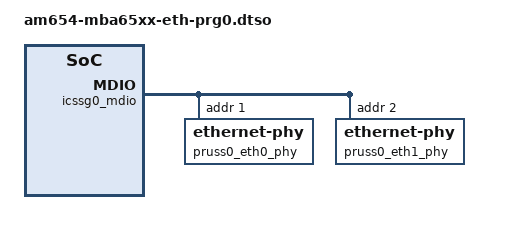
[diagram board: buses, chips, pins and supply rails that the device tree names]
// SPDX-License-Identifier: GPL-2.0
/*
 * Copyright (C) 2020 TQ Systems
 */

/dts-v1/;
/plugin/;
#include <dt-bindings/gpio/gpio.h>
#include <dt-bindings/net/ti-dp83867.h>
#include <dt-bindings/phy/phy.h>
#include <dt-bindings/pinctrl/k3.h>


/ {
   fragment@101 {
	target-path = "/";

	__overlay__ {

		aliases {
			ethernet1 = "/pruss0_eth/ethernet-mii0";
			ethernet2 = "/pruss0_eth/ethernet-mii1";
		};
		
		/* Dual Ethernet application node on PRU-ICSSG0 */
		pruss0_eth: pruss0_eth {
			compatible = "ti,am654-icssg-prueth";
			pinctrl-names = "default";
			pinctrl-0 = <&icssg0_rgmii_pins_default>;
			sram = <&msmc_ram>;
			prus = <&pru0_0>, <&rtu0_0>, <&tx_pru0_0>, <&pru0_1>, <&rtu0_1>, <&tx_pru0_1>;
			firmware-name = "ti-pruss/am65x-sr2-pru0-prueth-fw.elf",
					"ti-pruss/am65x-sr2-rtu0-prueth-fw.elf",
					"ti-pruss/am65x-sr2-txpru0-prueth-fw.elf",
					"ti-pruss/am65x-sr2-pru1-prueth-fw.elf",
					"ti-pruss/am65x-sr2-rtu1-prueth-fw.elf",
					"ti-pruss/am65x-sr2-txpru1-prueth-fw.elf";

			ti,pruss-gp-mux-sel = <2>,	/* MII mode */
					      <2>,
					      <2>,
					      <2>,	/* MII mode */
					      <2>,
					      <2>;
			mii-g-rt = <&icssg0_mii_g_rt>;
			mii-rt = <&icssg0_mii_rt>;
			dma-coherent;
			dmas = <&main_udmap 0xc100>, /* egress slice 0 */
			       <&main_udmap 0xc101>, /* egress slice 0 */
			       <&main_udmap 0xc102>, /* egress slice 0 */
			       <&main_udmap 0xc103>, /* egress slice 0 */
			       <&main_udmap 0xc104>, /* egress slice 1 */
			       <&main_udmap 0xc105>, /* egress slice 1 */
			       <&main_udmap 0xc106>, /* egress slice 1 */
			       <&main_udmap 0xc107>, /* egress slice 1 */

			       <&main_udmap 0x4100>, /* ingress slice 0 */
			       <&main_udmap 0x4101>, /* ingress slice 1 */
			       <&main_udmap 0x4102>, /* mgmnt rsp slice 0 */
			       <&main_udmap 0x4103>; /* mgmnt rsp slice 1 */
			dma-names = "tx0-0", "tx0-1", "tx0-2", "tx0-3",
				    "tx1-0", "tx1-1", "tx1-2", "tx1-3",
				    "rx0", "rx1",
				    "rxmgm0", "rxmgm1";

			pruss0_emac0: ethernet-mii0 {
				phy-handle = <&pruss0_eth0_phy>;
				phy-mode = "rgmii-rxid";
				interrupts-extended = <&icssg0_intc 24>;
				syscon-rgmii-delay = <&scm_conf 0x4100>;
				iep = <&icssg0_iep0>;
				/* Filled in by bootloader */
				local-mac-address = [00 00 00 00 00 00];
			};

			pruss0_emac1: ethernet-mii1 {
				phy-handle = <&pruss0_eth1_phy>;
				phy-mode = "rgmii-rxid";
				interrupts-extended = <&icssg0_intc 25>;
				syscon-rgmii-delay = <&scm_conf 0x4104>;
				/* Filled in by bootloader */
				local-mac-address = [00 00 00 00 00 00];
			};
		};
  	};
  };
};

&main_pmx0 {
	icssg0_mdio_pins_default: icssg0_mdio_pins_default {
		pinctrl-single,pins = <
			AM65X_IOPAD(0x0294, PIN_INPUT, 0) /* (AE26) PRG0_MDIO0_MDIO */
			AM65X_IOPAD(0x0298, PIN_OUTPUT, 0) /* (AE28) PRG0_MDIO0_MDC */
		>;
	};

	icssg0_rgmii_pins_default: icssg0_rgmii_pins_default {
		pinctrl-single,pins = <
			AM65X_IOPAD(0x0244, PIN_INPUT, 2) /* (AB28) PRG0_PRU1_GPO0.PRG0_RGMII2_RD0 */
			AM65X_IOPAD(0x0248, PIN_INPUT, 2) /* (AC28) PRG0_PRU1_GPO1.PRG0_RGMII2_RD1 */
			AM65X_IOPAD(0x024c, PIN_INPUT, 2) /* (AC27) PRG0_PRU1_GPO2.PRG0_RGMII2_RD2 */
			AM65X_IOPAD(0x0250, PIN_INPUT, 2) /* (AB26) PRG0_PRU1_GPO3.PRG0_RGMII2_RD3 */
			AM65X_IOPAD(0x0274, PIN_OUTPUT, 2) /* (AC25) PRG0_PRU1_GPO12.PRG0_RGMII2_TD0 */
			AM65X_IOPAD(0x0278, PIN_OUTPUT, 2) /* (AD25) PRG0_PRU1_GPO13.PRG0_RGMII2_TD1 */
			AM65X_IOPAD(0x027c, PIN_OUTPUT, 2) /* (AD24) PRG0_PRU1_GPO14.PRG0_RGMII2_TD2 */
			AM65X_IOPAD(0x0280, PIN_OUTPUT, 2) /* (AE27) PRG0_PRU1_GPO15.PRG0_RGMII2_TD3 */
			AM65X_IOPAD(0x0284, PIN_INPUT, 2) /* (AC24) PRG0_PRU1_GPO16.PRG0_RGMII2_TXC */
			AM65X_IOPAD(0x0270, PIN_OUTPUT, 2) /* (AB24) PRG0_PRU1_GPO11.PRG0_RGMII2_TX_CTL */
			AM65X_IOPAD(0x025c, PIN_INPUT, 2) /* (AB27) PRG0_PRU1_GPO6.PRG0_RGMII2_RXC */
			AM65X_IOPAD(0x0254, PIN_INPUT, 2) /* (AA25) PRG0_PRU1_GPO4.PRG0_RGMII2_RX_CTL */

			AM65X_IOPAD(0x01f4, PIN_INPUT, 2) /* (V24) PRG0_PRU0_GPO0.PRG0_RGMII1_RD0 */
			AM65X_IOPAD(0x01f8, PIN_INPUT, 2) /* (W25) PRG0_PRU0_GPO1.PRG0_RGMII1_RD1 */
			AM65X_IOPAD(0x01fc, PIN_INPUT, 2) /* (W24) PRG0_PRU0_GPO2.PRG0_RGMII1_RD2 */
			AM65X_IOPAD(0x0200, PIN_INPUT, 2) /* (AA27) PRG0_PRU0_GPO3.PRG0_RGMII1_RD3 */
			AM65X_IOPAD(0x0224, PIN_OUTPUT, 2) /* (AD27) PRG0_PRU0_GPO12.PRG0_RGMII1_TD0 */
			AM65X_IOPAD(0x0228, PIN_OUTPUT, 2) /* (AC26) PRG0_PRU0_GPO13.PRG0_RGMII1_TD1 */
			AM65X_IOPAD(0x022c, PIN_OUTPUT, 2) /* (AD26) PRG0_PRU0_GPO14.PRG0_RGMII1_TD2 */
			AM65X_IOPAD(0x0230, PIN_OUTPUT, 2) /* (AA24) PRG0_PRU0_GPO15.PRG0_RGMII1_TD3 */
			AM65X_IOPAD(0x0234, PIN_INPUT, 2) /* (AD28) PRG0_PRU0_GPO16.PRG0_RGMII1_TXC */
			AM65X_IOPAD(0x0220, PIN_OUTPUT, 2) /* (AB25) PRG0_PRU0_GPO11.PRG0_RGMII1_TX_CTL */
			AM65X_IOPAD(0x020c, PIN_INPUT, 2) /* (Y25) PRG0_PRU0_GPO6.PRG0_RGMII1_RXC */
			AM65X_IOPAD(0x0204, PIN_INPUT, 2) /* (Y24) PRG0_PRU0_GPO4.PRG0_RGMII1_RX_CTL */
		>;
	};

	icssg0_iep0_pins_default: icssg0_iep0_pins_default {
		pinctrl-single,pins = <
			AM65X_IOPAD(0x0240, PIN_INPUT, 2) /* (U24) PRG0_PRU0_GPO19.PRG0_IEP0_EDC_SYNC_OUT0 */
		>;
	};
};

&icssg0_mdio {
	status = "okay";
	pinctrl-names = "default";
	pinctrl-0 = <&icssg0_mdio_pins_default>;
	#address-cells = <1>;
	#size-cells = <0>;

	pruss0_eth0_phy: ethernet-phy@1 {
		reg = <1>;
		ti,rx-internal-delay = <DP83867_RGMIIDCTL_2_00_NS>;
		ti,fifo-depth = <DP83867_PHYCR_FIFO_DEPTH_4_B_NIB>;
	};

	pruss0_eth1_phy: ethernet-phy@2 {
		reg = <2>;
		ti,rx-internal-delay = <DP83867_RGMIIDCTL_2_00_NS>;
		ti,fifo-depth = <DP83867_PHYCR_FIFO_DEPTH_4_B_NIB>;
	};
};

&icssg0_iep0 {
	pinctrl-names = "default";
	pinctrl-0 = <&icssg0_iep0_pins_default>;
};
